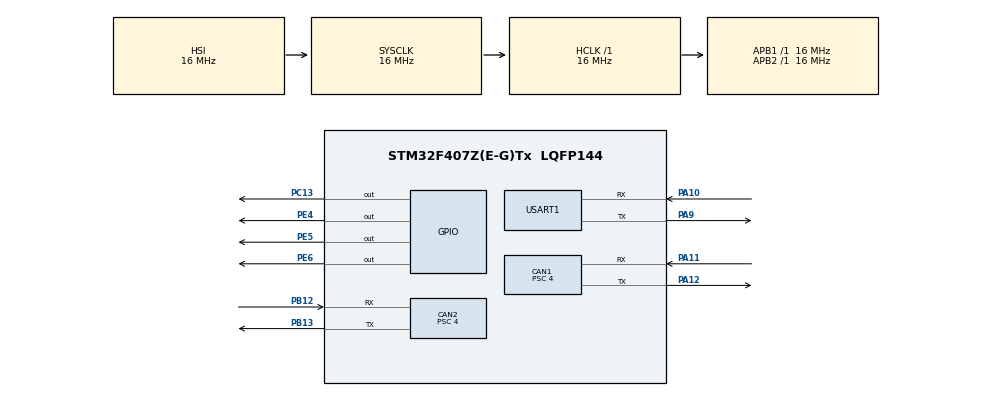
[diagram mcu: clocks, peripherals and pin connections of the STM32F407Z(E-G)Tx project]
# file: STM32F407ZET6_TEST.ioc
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CAN1.BS1=CAN_BS1_3TQ
CAN1.BS2=CAN_BS2_4TQ
CAN1.CalculateBaudRate=500000
CAN1.CalculateTimeBit=2000
CAN1.CalculateTimeQuantum=250.0
CAN1.NART=ENABLE
CAN1.Prescaler=4
CAN2.BS1=CAN_BS1_3TQ
CAN2.BS2=CAN_BS2_4TQ
CAN2.CalculateBaudRate=500000
CAN2.CalculateTimeBit=2000
CAN2.CalculateTimeQuantum=250.0
CAN2.NART=ENABLE
CAN2.Prescaler=4
Mcu.Family=STM32F4
Mcu.Name=STM32F407Z(E-G)Tx
Mcu.Package=LQFP144
NVIC.CAN1_RX0_IRQn=true\:0\:0\:false\:true\:true\:1\:true\:true\:true
NVIC.CAN1_TX_IRQn=true\:0\:0\:false\:true\:true\:2\:true\:true\:true
NVIC.CAN2_RX0_IRQn=true\:0\:0\:false\:true\:true\:4\:true\:true\:true
NVIC.CAN2_TX_IRQn=true\:0\:0\:false\:true\:true\:3\:true\:true\:true
NVIC.PriorityGroup=NVIC_PRIORITYGROUP_4
NVIC.USART1_IRQn=true\:0\:0\:false\:false\:true\:true\:true\:true
PA10.Mode=Asynchronous
PA10.Signal=USART1_RX
PA11.Mode=CAN_Activate
PA11.Signal=CAN1_RX
PA12.Mode=CAN_Activate
PA12.Signal=CAN1_TX
PA13.Mode=Serial_Wire
PA13.Signal=SYS_JTMS-SWDIO
PA14.Mode=Serial_Wire
PA14.Signal=SYS_JTCK-SWCLK
PA9.Mode=Asynchronous
PA9.Signal=USART1_TX
PB12.Mode=CAN_Activate
PB12.Signal=CAN2_RX
PB13.Mode=CAN_Activate
PB13.Signal=CAN2_TX
PC13-ANTI_TAMP.Signal=GPIO_Output
PE4.Signal=GPIO_Output
PE5.Signal=GPIO_Output
PE6.Signal=GPIO_Output
ProjectManager.HeapSize=0x200
ProjectManager.StackSize=0x400
ProjectManager.TargetToolchain=MDK-ARM V5.27
RCC.AHBFreq_Value=16000000
RCC.APB1Freq_Value=16000000
RCC.APB2Freq_Value=16000000
RCC.CortexFreq_Value=16000000
RCC.HSE_VALUE=25000000
RCC.HSI_VALUE=16000000
RCC.LSE_VALUE=32768
RCC.SYSCLKFreq_VALUE=16000000
RCC.VCOOutputFreq_Value=192000000
USART1.VirtualMode=VM_ASYNC
board=custom

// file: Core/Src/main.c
/* USER CODE BEGIN Header */
/**
  ******************************************************************************
  * @file           : main.c
  * @brief          : Main program body
  ******************************************************************************
  * @attention
  *
  * Copyright (c) 2025 STMicroelectronics.
  * All rights reserved.
  *
  * This software is licensed under terms that can be found in the LICENSE file
  * in the root directory of this software component.
  * If no LICENSE file comes with this software, it is provided AS-IS.
  *
  ******************************************************************************
  */
/* USER CODE END Header */
#include "main.h"
#include "can.h"
#include "usart.h"
#include "gpio.h"

/* USER CODE BEGIN Includes */
#include <stdio.h>
#include <string.h>
#include <stdbool.h>
#include <stdlib.h>
/* USER CODE END Includes */

/* USER CODE BEGIN PTD */
// === 用户宏定义 ===
#define MOTOR2_ID   0x00    // 电机1 CAN ID
#define MOTOR1_ID   0x01    // 电机2 CAN ID
/* USER CODE END PTD */

/* USER CODE BEGIN PV */
// --------------------------
// UART 接收相关全局变量
// --------------------------

volatile uint8_t uart_rx_tmp;
// 单字节接收临时缓存，用于 HAL_UART_Receive_IT 接收一个字节时存储临时数据

volatile uint8_t uart_expected_len = 0;
// 当前接收帧的预期长度（字节数），根据命令类型设置
// 例如：查询命令可能 2 字节，控制命令可能 5 字节

volatile uint8_t uart_frame_len = 0;
// 实际接收到的帧长度（字节数），接收完成后用于处理

#define UART_RX_BUF_SIZE 16
// UART 接收缓冲区大小，根据实际命令最大长度设置
// 注意：缓冲区不要太小，否则可能溢出

volatile uint8_t uart_rx_buf[UART_RX_BUF_SIZE];
// UART 接收缓冲区，存储接收到的多字节数据
// 接收到一帧完整数据后用于解析

volatile uint8_t uart_rx_index = 0;
// 当前接收到的字节索引，用于在缓冲区中定位
// 接收完成后需要重置为 0

volatile bool uart_frame_ready = false;
// 标记当前接收的一帧数据是否完整
// 处理完成后需要清除

// CAN 接收相关
volatile uint8_t can_rx_write_index = 0; // CAN接收写索引
volatile uint8_t can_rx_read_index = 0;  // CAN接收读索引
volatile bool can_data_received = false; // 标记是否有新CAN数据
// --------------------------
// CAN 接收消息结构体
// --------------------------
typedef struct {
    uint32_t id;      // CAN 消息 ID（11 位或 29 位扩展 ID）
    uint8_t data[8];  // CAN 消息数据内容，最大 8 字节
    uint8_t len;      // CAN 消息数据长度（实际有效字节数）
    bool valid;       // 消息有效标志，true 表示此条消息有效，false 表示无效或已处理
} CAN_RxMsg;

// --------------------------
// CAN 接收缓冲区
// --------------------------
#define CAN_RX_BUF_SIZE 16      // CAN 接收缓冲区长度，可存储的消息数量

CAN_RxMsg can_rx_buf[CAN_RX_BUF_SIZE];
// 循环/队列形式存放接收到的 CAN 消息
// 消息接收中断或 DMA 将写入此缓冲区
// 用户在主循环或任务中根据 valid 标志读取处理  测试

/* USER CODE END PV */

void SystemClock_Config(void);
static void MX_NVIC_Init(void);
/* USER CODE BEGIN PFP */
int fputc(int ch, FILE *f);
int _write(int file, char *ptr, int len);
int can_send_msg(uint32_t id, uint8_t *data, uint8_t len);
void send_gear_cmd_motor1(uint8_t gear, bool forward);
void send_gear_cmd_motor2(uint8_t gear, bool forward);
uint8_t can_receive_msg(uint32_t expected_id, uint8_t* buf);
void parse_and_print_can(const CAN_RxMsg* msg);
/* USER CODE END PFP */

/* USER CODE BEGIN 0 */
/* 串口接收回调 */
/* 串口接收回调，支持两个电机独立转速 */
/* 串口接收完成回调函数
 * 每接收到一个字节都会触发一次
 */
void HAL_UART_RxCpltCallback(UART_HandleTypeDef *huart)
{
    // 判断是 USART1 接收
    if (huart->Instance == USART1)
    {
        // --------------------------
        // 保存接收到的字节到缓冲区
        // --------------------------
        if (uart_rx_index < UART_RX_BUF_SIZE - 1) // 防止缓冲区溢出
            uart_rx_buf[uart_rx_index++] = uart_rx_tmp;

        // --------------------------
        // 判断是否接收到一帧数据结束标志
        // 换行 '\n' 或回车 '\r' 表示一帧结束
        // --------------------------
        if (uart_rx_tmp == '\n' || uart_rx_tmp == '\r')
        {
            // --------------------------
            // 去掉前后的空格、制表符和换行符
            // --------------------------
            int start = 0;
            while (start < uart_rx_index && (uart_rx_buf[start] == ' ' || uart_rx_buf[start] == '\t'))
                start++;
            int end = uart_rx_index - 1;
            while (end >= start && (uart_rx_buf[end] == ' ' || uart_rx_buf[end] == '\t' ||
                                    uart_rx_buf[end] == '\r' || uart_rx_buf[end] == '\n'))
                end--;

            // --------------------------
            // 确认有效数据存在
            // --------------------------
            if (end >= start)
            {
                uart_rx_buf[end + 1] = 0;  // 字符串结束符

                // --------------------------
                // 解析两个电机的 RPM
                // 格式示例: "3000 2000" 或 "-3000 2000"
                // --------------------------
                int32_t rpm1_val = 0, rpm2_val = 0;   // 存储解析出的转速
                bool rpm1_reverse = false, rpm2_reverse = false; // 是否反转标志

                char *p = (char*)&uart_rx_buf[start]; // 指向字符串开头

                // -------- 第一个 RPM --------
                if (*p == '-') { rpm1_reverse = true; p++; } // 检查负号
                while (*p >= '0' && *p <= '9')               // 累加数字
                {
                    rpm1_val = rpm1_val * 10 + (*p - '0');
                    p++;
                }
                if (rpm1_reverse) rpm1_val = -rpm1_val;     // 如果负数则取负

                // 跳过空格分隔符
                while (*p == ' ') p++;

                // -------- 第二个 RPM --------
                if (*p == '-') { rpm2_reverse = true; p++; }
                while (*p >= '0' && *p <= '9')
                {
                    rpm2_val = rpm2_val * 10 + (*p - '0');
                    p++;
                }
                if (rpm2_reverse) rpm2_val = -rpm2_val;

                // --------------------------
                // 构造 CAN 数据并发送
                // --------------------------
                uint8_t can_buf[5];
                can_buf[0] = 0x02; // 数据帧标识（固定值）

                // -------- MOTOR1 -------- (左轮)
                can_buf[1] = can_buf[2] = rpm1_val < 0 ? 0xFF : 0x00;   // 正反转标志
                int16_t val1 = (int16_t)(abs(rpm1_val) * 100);          // 转速换算为 CAN 数据
                if (rpm1_val < 0) val1 = -val1;
                can_buf[3] = (val1 >> 8) & 0xFF;
                can_buf[4] = val1 & 0xFF;
                can_send_msg(MOTOR1_ID, can_buf, 5);
                can_send_msg(MOTOR1_ID, can_buf, 5);

                // -------- MOTOR2 -------- (右轮，需要反向)
                rpm2_val = -rpm2_val;                                   // 关键：反向处理
                can_buf[1] = can_buf[2] = rpm2_val < 0 ? 0xFF : 0x00;
                int16_t val2 = (int16_t)(abs(rpm2_val) * 100);
                if (rpm2_val < 0) val2 = -val2;
                can_buf[3] = (val2 >> 8) & 0xFF;
                can_buf[4] = val2 & 0xFF;
                can_send_msg(MOTOR2_ID, can_buf, 5);
                can_send_msg(MOTOR2_ID, can_buf, 5);

                // --------------------------
                // 串口打印调试信息
                // --------------------------
                printf("UART -> CAN MOTOR1: %s%d rpm, MOTOR2: %s%d rpm\r\n",
                       rpm1_val < 0 ? "-" : "+", abs(rpm1_val),
                       rpm2_val < 0 ? "-" : "+", abs(rpm2_val));
            }

            // --------------------------
            // 清空接收缓冲区，准备接收下一帧
            // --------------------------
            uart_rx_index = 0;
        }

        // --------------------------
        // 继续接收下一个字节（中断模式）
        // --------------------------
        HAL_UART_Receive_IT(&huart1, (uint8_t *)&uart_rx_tmp, 1);
    }
}

/* CAN 接收回调 - 中断中只做接收和存缓冲 */
void HAL_CAN_RxFifo0MsgPendingCallback(CAN_HandleTypeDef *hcan)
{
    CAN_RxHeaderTypeDef rx_header;  // CAN报文头
    uint8_t rx_data[8];             // CAN报文数据

    // 获取 FIFO0 消息
    if (HAL_CAN_GetRxMessage(hcan, CAN_RX_FIFO0, &rx_header, rx_data) == HAL_OK)
    {
        // 保存到环形缓冲
        CAN_RxMsg* msg = &can_rx_buf[can_rx_write_index];
        msg->id = rx_header.StdId;
        memcpy(msg->data, rx_data, rx_header.DLC);
        msg->len = rx_header.DLC;
        msg->valid = true;

        can_rx_write_index = (can_rx_write_index + 1) % CAN_RX_BUF_SIZE;
        can_data_received = true;  // 标记有新数据
    }
}

/* USER CODE END 0 */

int main(void)
{

  /* USER CODE BEGIN 1 */
	uint32_t last_heartbeat_tick = 0;
  /* USER CODE END 1 */

  /* MCU Configuration--------------------------------------------------------*/

  /* Reset of all peripherals, Initializes the Flash interface and the Systick. */
  HAL_Init();

  /* Configure the system clock */
  SystemClock_Config();

  /* Initialize all configured peripherals */
  MX_GPIO_Init();
  MX_CAN1_Init();
  MX_CAN2_Init();
  MX_USART1_UART_Init();

  /* Initialize interrupts */
  MX_NVIC_Init();
  /* USER CODE BEGIN 2 */
  // 启动CAN
  HAL_CAN_Start(&hcan1);
  HAL_CAN_ActivateNotification(&hcan1, CAN_IT_RX_FIFO0_MSG_PENDING);
  HAL_UART_Receive_IT(&huart1, &uart_rx_tmp, 1);

  /* USER CODE END 2 */

  /* Infinite loop */
  while (1)
  {

    /* USER CODE BEGIN 3 */
	uint32_t now = HAL_GetTick();  // 当前系统时间（ms）

	// =======================
	// 周期性心跳包 (500ms)
	// =======================
	if (now - last_heartbeat_tick >= 500)
	{
	  uint8_t hb[1] = {0x00};
	  can_send_msg(MOTOR1_ID, hb, 1);
	  can_send_msg(MOTOR2_ID, hb, 1);
	  last_heartbeat_tick = now;
//	  HAL_GPIO_TogglePin(GPIOE, GPIO_PIN_4);  // 翻转 PE4 灯
//	  HAL_GPIO_TogglePin(GPIOE, GPIO_PIN_5);  // 翻转 PE5 灯
//	  HAL_GPIO_TogglePin(GPIOE, GPIO_PIN_6);  // 翻转 PE6 灯
	  HAL_GPIO_TogglePin(GPIOC, GPIO_PIN_13); // 翻转 PC13 灯
	}

	// 判断是否有新的 CAN 数据到达
	if (can_data_received)
	{
	    // 遍历整个环形缓冲区，检查每一个消息
	    for (int i = 0; i < CAN_RX_BUF_SIZE; i++)
	    {
	        // 如果当前位置有有效消息（valid == true）
	        if (can_rx_buf[i].valid)
	        {
	            // 调用解析和打印函数，处理该条 CAN 消息
	            parse_and_print_can(&can_rx_buf[i]);
	            printf("4444444444444444\r\n");

	            // 处理完成后，将消息标记为无效，避免重复处理
	            can_rx_buf[i].valid = false;
	        }
	    }

	    // 所有消息处理完成后，重置 can_data_received 标志
	    // 下次有新数据到达中断才会再次进入处理
	    can_data_received = false;
	}

	HAL_Delay(10);  // 防止循环过快占用CPU

  }
  /* USER CODE END 3 */
}

void SystemClock_Config(void)
{
  RCC_OscInitTypeDef RCC_OscInitStruct = {0};
  RCC_ClkInitTypeDef RCC_ClkInitStruct = {0};

  /** Configure the main internal regulator output voltage
  */
  __HAL_RCC_PWR_CLK_ENABLE();
  __HAL_PWR_VOLTAGESCALING_CONFIG(PWR_REGULATOR_VOLTAGE_SCALE1);

  /** Initializes the RCC Oscillators according to the specified parameters
  * in the RCC_OscInitTypeDef structure.
  */
  RCC_OscInitStruct.OscillatorType = RCC_OSCILLATORTYPE_HSI;
  RCC_OscInitStruct.HSIState = RCC_HSI_ON;
  RCC_OscInitStruct.HSICalibrationValue = RCC_HSICALIBRATION_DEFAULT;
  RCC_OscInitStruct.PLL.PLLState = RCC_PLL_NONE;
  if (HAL_RCC_OscConfig(&RCC_OscInitStruct) != HAL_OK)
  {
    Error_Handler();
  }

  /** Initializes the CPU, AHB and APB buses clocks
  */
  RCC_ClkInitStruct.ClockType = RCC_CLOCKTYPE_HCLK|RCC_CLOCKTYPE_SYSCLK
                              |RCC_CLOCKTYPE_PCLK1|RCC_CLOCKTYPE_PCLK2;
  RCC_ClkInitStruct.SYSCLKSource = RCC_SYSCLKSOURCE_HSI;
  RCC_ClkInitStruct.AHBCLKDivider = RCC_SYSCLK_DIV1;
  RCC_ClkInitStruct.APB1CLKDivider = RCC_HCLK_DIV1;
  RCC_ClkInitStruct.APB2CLKDivider = RCC_HCLK_DIV1;

  if (HAL_RCC_ClockConfig(&RCC_ClkInitStruct, FLASH_LATENCY_0) != HAL_OK)
  {
    Error_Handler();
  }
}

/**
  * @brief NVIC Configuration.
  * @retval None
  */
static void MX_NVIC_Init(void)
{
  /* CAN1_RX0_IRQn interrupt configuration */
  HAL_NVIC_SetPriority(CAN1_RX0_IRQn, 0, 0);
  HAL_NVIC_EnableIRQ(CAN1_RX0_IRQn);
  /* CAN1_TX_IRQn interrupt configuration */
  HAL_NVIC_SetPriority(CAN1_TX_IRQn, 0, 0);
  HAL_NVIC_EnableIRQ(CAN1_TX_IRQn);
  /* CAN2_TX_IRQn interrupt configuration */
  HAL_NVIC_SetPriority(CAN2_TX_IRQn, 0, 0);
  HAL_NVIC_EnableIRQ(CAN2_TX_IRQn);
  /* CAN2_RX0_IRQn interrupt configuration */
  HAL_NVIC_SetPriority(CAN2_RX0_IRQn, 0, 0);
  HAL_NVIC_EnableIRQ(CAN2_RX0_IRQn);
}

/* USER CODE BEGIN 4 */
/* 接收CAN数据函数，尝试读取一帧，返回长度 */
uint8_t can_receive_msg(uint32_t expected_id, uint8_t* buf)
{
    if (can_rx_read_index == can_rx_write_index)
        return 0;  // 如果读指针等于写指针，说明缓冲区没有数据，返回0

    CAN_RxMsg* msg = &can_rx_buf[can_rx_read_index];
    // 取当前读指针指向的消息结构体指针

    if (!msg->valid)
        return 0;  // 如果该消息无效（已经读取过），返回0

    if (msg->id == expected_id)
    {
        memcpy(buf, msg->data, msg->len);
        // 把消息数据复制到用户缓冲区

        uint8_t len = msg->len;
        // 记录消息长度

        msg->valid = false;
        // 标记该消息已读，避免重复处理

        can_rx_read_index = (can_rx_read_index + 1) % CAN_RX_BUF_SIZE;
        // 读指针移向下一条消息，环形缓冲区方式

        return len;
        // 返回数据长度，表示成功读取
    }
    else
    {
        // 如果消息ID不匹配，暂不处理
        return 0;
        // 返回0，表示未接收指定ID数据
    }
}

// 发送 CAN 消息函数
// id   : CAN 标准帧 ID
// data : 待发送的数据指针
// len  : 数据长度（字节数）
// 返回值: HAL 状态，0 成功，其他值表示错误
int can_send_msg(uint32_t id, uint8_t *data, uint8_t len)
{
    CAN_TxHeaderTypeDef TxHeader;  // 定义 CAN 发送帧头结构体
    uint32_t TxMailbox;             // 发送邮箱索引（CAN 控制器内部使用）

    // 配置 CAN 发送帧头
    TxHeader.StdId = id;            // 设置标准帧 ID
    TxHeader.ExtId = 0;             // 扩展帧 ID（这里不用）
    TxHeader.RTR   = CAN_RTR_DATA;  // 数据帧（不是远程帧）
    TxHeader.IDE   = CAN_ID_STD;    // 使用标准帧（11 位 ID）
    TxHeader.DLC   = len;           // 数据长度（0~8 字节）
    TxHeader.TransmitGlobalTime = DISABLE; // 不发送全局时间标志

    // 调用 HAL 库函数添加发送消息到 CAN 邮箱
    // &hcan1  : CAN 外设句柄
    // &TxHeader : 发送帧头
    // data      : 数据指针
    // &TxMailbox: 返回使用的邮箱索引
    return HAL_CAN_AddTxMessage(&hcan1, &TxHeader, data, &TxMailbox);
}

/* 解析 CAN 数据并打印 */
// 解析并打印 CAN 接收到的电机消息
void parse_and_print_can(const CAN_RxMsg* msg)
{
    // --------------------------
    // 判断是否为 MOTOR1 或 MOTOR2 消息，且数据长度 >= 6
    // --------------------------
    if ((msg->id == MOTOR1_ID || msg->id == MOTOR2_ID) && msg->len >= 6)
    {
        // 判断电机旋转方向：
        // 如果高字节全为 0xFF，表示反向旋转
        bool is_reverse = (msg->data[2] == 0xFF && msg->data[3] == 0xFF);

        // 提取原始 eRPM 值（电机实际编码器单位，16 位）
        uint16_t erpm_raw = ((uint16_t)msg->data[4] << 8) | msg->data[5];

        // 如果是反向，取补码得到负值；否则保持正值
        int16_t erpm = is_reverse ? (int16_t)(~erpm_raw + 1) : (int16_t)erpm_raw;

        // --------------------------
        // 将 eRPM 转换为实际 rpm（整数运算）
        // MOTOR1 极对数 2.5，等价于 erpm / 2.5
        // MOTOR2 极对数 5，等价于 erpm / 5
        // --------------------------
        uint16_t rpm;
        if (msg->id == MOTOR1_ID)
            rpm = (uint16_t)((erpm * 2) / 5);  // 整数运算避免浮点
        else
            rpm = (uint16_t)((erpm * 2) / 5);

        // --------------------------
        // 打印电机信息
        // --------------------------
        printf("Motor %s ID=0x%03lX Speed: %s%u rpm\r\n",
               msg->id == MOTOR1_ID ? "1" : "2",  // 电机编号
               (unsigned long)msg->id,            // CAN ID
               is_reverse ? "-" : "+",            // 正负转向符号
               rpm);                              // 实际转速 rpm
    }
    // --------------------------
    // 数据长度不足 6 字节，打印错误信息
    // --------------------------
    else if ((msg->id == MOTOR1_ID || msg->id == MOTOR2_ID) && msg->len < 6)
    {
        printf("Motor %s ID=0x%03lX Data length error\r\n",
               msg->id == MOTOR1_ID ? "1" : "2",  // 电机编号
               (unsigned long)msg->id);           // CAN ID
    }
}

// 重定向 printf 输出到 UART
int fputc(int ch, FILE *f)
{
    // 将单个字符 ch 通过 UART1 发送出去
    // HAL_MAX_DELAY 表示等待直到发送完成，不超时
	HAL_UART_Transmit(&huart1, (uint8_t *)&ch, 1, HAL_MAX_DELAY);
    return ch; // 返回发送的字符
}

// 重定向 _write 系统调用，用于 printf 等函数
int _write(int file, char *ptr, int len)
{
    // 将 len 个字节的数据通过 UART1 发送出去
    // ptr 指向要发送的缓冲区
    HAL_UART_Transmit(&huart1, (uint8_t *)ptr, len, HAL_MAX_DELAY);
    return len; // 返回成功发送的字节数
}

/* USER CODE END 4 */

void Error_Handler(void)
{
  __disable_irq();
  while (1)
  {
  }
}
